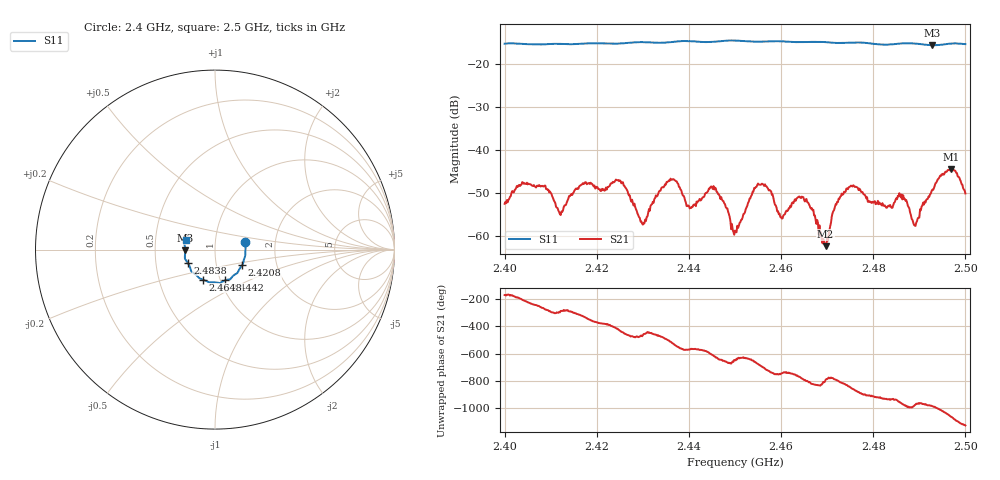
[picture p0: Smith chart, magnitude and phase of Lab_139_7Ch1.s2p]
# Hz S RI R 50
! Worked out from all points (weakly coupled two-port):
!   601 points, 2.4 GHz to 2.5 GHz, reference 50 ohm
!   highest |S21| = -44.37 dB at 2.4968 GHz (marker M1); lowest = -62.3 dB at 2.4697 GHz (marker M2)
!   lowest |S11| = -15.6 dB at 2.4928 GHz (marker M3), VSWR 1.40, Z = 35.8 - j0.356 ohm
!   |S11| at or under -10 dB: start of sweep to end of sweep
!   S12 and S22 are empty: the file has one direction only
!   S11 on the Smith chart (normalised r, x): 2.4 GHz: 1.40, +0.12; 2.4208 GHz: 1.33, -0.24; 2.4442 GHz: 1.05, -0.37; 2.4648 GHz: 0.83, -0.29; 2.4838 GHz: 0.73, -0.11; 2.5 GHz: 0.72, +0.08
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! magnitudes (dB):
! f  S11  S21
! 2.4 GHz  -15.2  -52.5
! 2.4083 GHz  -15.4  -48.4
! 2.4122 GHz  -15.3  -55.1
! 2.4167 GHz  -15.2  -48.0
! 2.4208 GHz  -15.2  -49.5
! 2.4252 GHz  -15.2  -47.2
! 2.43 GHz  -14.9  -57.3
! 2.4333 GHz  -15.0  -50.1
! 2.4442 GHz  -14.9  -49.5
! 2.45 GHz  -14.5  -58.7
! 2.4553 GHz  -14.8  -48.0
! 2.46 GHz  -14.7  -55.6
! 2.4648 GHz  -14.9  -50.9
! 2.4667 GHz  -14.8  -53.5
! 2.4697 GHz  -14.9  -62.3
! 2.4747 GHz  -15.0  -48.7
! 2.4833 GHz  -15.5  -52.9
! 2.4838 GHz  -15.4  -53.2
! 2.4892 GHz  -15.2  -57.6
! 2.4928 GHz  -15.6  -49.2
! 2.4968 GHz  -15.2  -44.4
! 2.5 GHz  -15.4  -50.1
